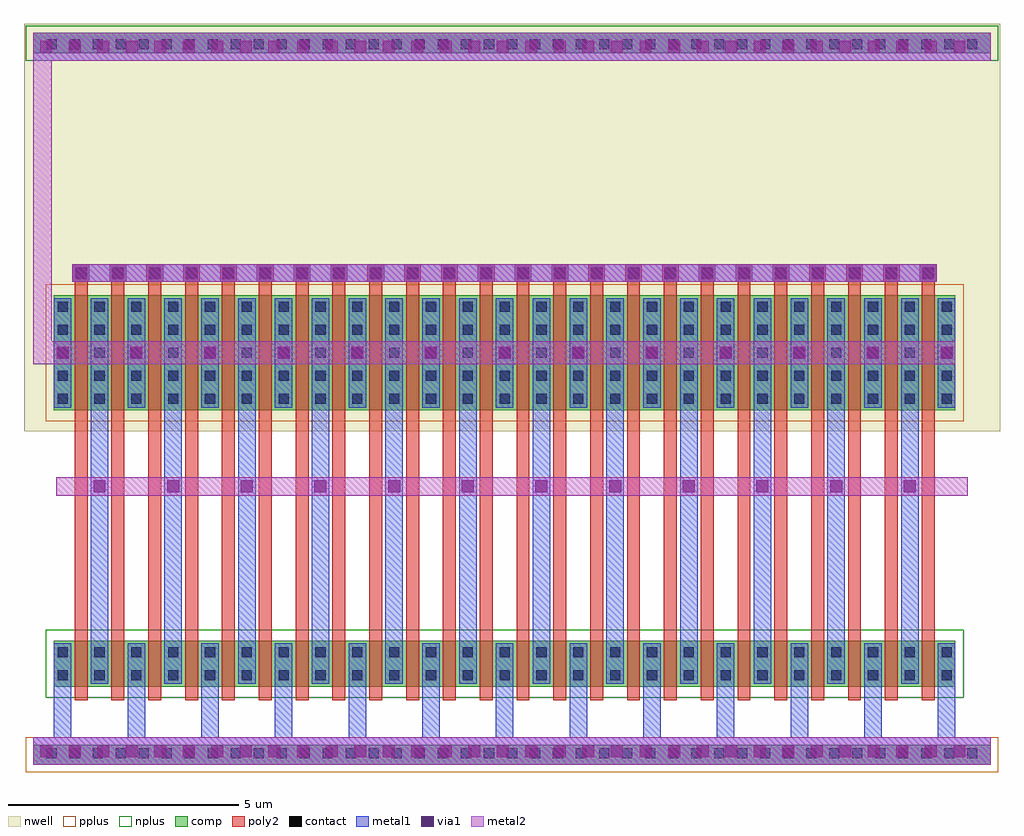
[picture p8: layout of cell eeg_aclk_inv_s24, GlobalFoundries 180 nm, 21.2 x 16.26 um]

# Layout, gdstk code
import gdstk
lib = gdstk.Library(unit=1e-6, precision=1e-09)
def R(c, l, rs):  # rectangles x0, y0, x1, y1
    for r in rs: c.add(gdstk.rectangle(r[:2], r[2:], *l))
def A(c, l, x, y, w, h, nx, ny, dx, dy):  # array of equal rectangles
    R(c, l, [(x+i*dx, y+j*dy, x+i*dx+w, y+j*dy+h) for i in range(nx) for j in range(ny)])
nwell = (21, 0)
comp = (22, 0)
poly2 = (30, 0)
pplus = (31, 0)
nplus = (32, 0)
contact = (33, 0)
metal1 = (34, 0)
via1 = (35, 0)
metal2 = (36, 0)

eeg_aclk_inv_s24 = lib.new_cell('eeg_aclk_inv_s24')
R(eeg_aclk_inv_s24, nwell, [(-0.2,7.25,21,16.1)])
R(eeg_aclk_inv_s24, comp, [(0,0,20.8,0.44), (0.45,1.7,20.03,2.7), (0.45,7.7,20.03,10.2), (0,15.46,20.8,15.9)])
A(eeg_aclk_inv_s24, poly2, 0.9, 1.4, 0.28, 6.3, 24, 1, 0.8, 0)
A(eeg_aclk_inv_s24, poly2, 0.9, 7.4, 0.28, 3.46, 24, 1, 0.8, 0)
A(eeg_aclk_inv_s24, poly2, 0.86, 10.5, 0.36, 0.36, 24, 1, 0.8, 0)
R(eeg_aclk_inv_s24, pplus, [(-0.16,-0.16,20.96,0.6), (0.27,7.46,20.21,10.44)])
R(eeg_aclk_inv_s24, nplus, [(0.27,1.46,20.21,2.94), (-0.16,15.3,20.96,16.06)])
A(eeg_aclk_inv_s24, contact, 0.29, 0.14, 0.22, 0.22, 41, 2, 0.5, 15.4)
A(eeg_aclk_inv_s24, contact, 0.53, 1.84, 0.22, 0.22, 25, 2, 0.8, 0.5)
A(eeg_aclk_inv_s24, contact, 0.53, 7.84, 0.22, 0.22, 25, 5, 0.8, 0.5)
A(eeg_aclk_inv_s24, contact, 0.93, 10.57, 0.22, 0.22, 24, 1, 0.8, 0)
A(eeg_aclk_inv_s24, metal1, 0.45, 0.3, 0.38, 2.34, 13, 1, 1.6, 0)
A(eeg_aclk_inv_s24, metal1, 1.25, 1.76, 0.38, 4.49, 12, 1, 1.6, 0)
A(eeg_aclk_inv_s24, metal1, 1.25, 5.85, 0.38, 4.29, 12, 1, 1.6, 0)
A(eeg_aclk_inv_s24, metal1, 0.45, 7.76, 0.38, 2.38, 13, 1, 1.6, 0)
R(eeg_aclk_inv_s24, metal1, [(0,0,20.8,0.6), (0,0,20.8,0.44), (0.85,10.49,19.63,10.87), (0,15.3,20.8,15.9), (0,15.46,20.8,15.9)])
A(eeg_aclk_inv_s24, via1, 0.15, 0.17, 0.26, 0.26, 33, 2, 0.62, 15.3)
A(eeg_aclk_inv_s24, via1, 0.51, 8.82, 0.26, 0.26, 13, 1, 1.6, 0)
A(eeg_aclk_inv_s24, via1, 0.91, 10.55, 0.26, 0.26, 24, 1, 0.8, 0)
R(eeg_aclk_inv_s24, via1, [(1.31,5.92,1.57,6.18), (1.31,5.92,1.57,6.18), (2.91,5.92,3.17,6.18), (2.91,5.92,3.17,6.18), (4.51,5.92,4.77,6.18), (4.51,5.92,4.77,6.18), (6.11,5.92,6.37,6.18), (6.11,5.92,6.37,6.18), (7.71,5.92,7.97,6.18), (7.71,5.92,7.97,6.18), (9.31,5.92,9.57,6.18), (9.31,5.92,9.57,6.18), (10.91,5.92,11.17,6.18), (10.91,5.92,11.17,6.18), (12.51,5.92,12.77,6.18), (12.51,5.92,12.77,6.18), (14.11,5.92,14.37,6.18), (14.11,5.92,14.37,6.18), (15.71,5.92,15.97,6.18), (15.71,5.92,15.97,6.18), (17.31,5.92,17.57,6.18), (17.31,5.92,17.57,6.18), (18.91,5.92,19.17,6.18), (18.91,5.92,19.17,6.18)])
R(eeg_aclk_inv_s24, metal2, [(0,0,20.8,0.6), (0.5,5.85,20.3,6.25), (0,8.7,20.03,9.2), (0,8.7,0.4,15.3), (0.85,10.49,19.63,10.87), (0,15.3,20.8,15.9)])

lib.write_gds('eeg_aclk_inv_s24.gds')
